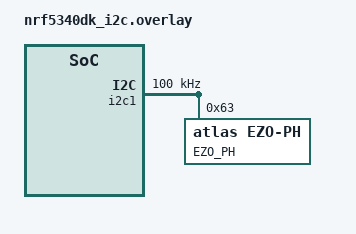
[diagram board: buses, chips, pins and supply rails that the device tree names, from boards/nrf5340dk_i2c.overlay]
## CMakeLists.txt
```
cmake_minimum_required(VERSION 3.20.0)

# Add before find_package(Zephyr ...)
list(APPEND ZEPHYR_EXTRA_MODULES C:/ncs/v3.2.3/modules/atlas_ezo_ph)

find_package(Zephyr REQUIRED HINTS $ENV{ZEPHYR_BASE})
project(ph_sensor_sample)

# -------------------------
# Suppress macro expansion notes
# -------------------------
add_compile_options(
    -fno-diagnostics-show-note-include-stack
    -fno-diagnostics-show-caret
    -fno-diagnostics-show-option
)

FILE(GLOB app_sources src/*.c)
target_sources(app PRIVATE ${app_sources})
target_include_directories(app PRIVATE include)
```

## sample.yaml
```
sample:
  name: pH Sensor Sample
  description: Atlas EZO-pH sensor driver sample (Matter + Continuous / Serial + On-Demand)

tests:
  drivers.sensor.ph_sensor.build:
    tags:
      - i2c
      - sensor
      - ph_sensor
    platform_allow:
      - nrf5340dk/nrf5340/cpuapp
    integration_platforms:
      - nrf5340dk/nrf5340/cpuapp
```

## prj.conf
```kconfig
#
# Copyright (c) 2021 Nordic Semiconductor ASA
#
# SPDX-License-Identifier: LicenseRef-Nordic-5-Clause
#

# System
CONFIG_THREAD_NAME=y
CONFIG_MPU_STACK_GUARD=y
CONFIG_RESET_ON_FATAL_ERROR=n
CONFIG_USE_SEGGER_RTT=n
CONFIG_SYSTEM_WORKQUEUE_STACK_SIZE=2048

# pH sensor — Serial + On-Demand
CONFIG_SENSOR=y
CONFIG_I2C=y
CONFIG_PH_SENSOR=y
CONFIG_PH_SENSOR_TRANSPORT_SERIAL=y
CONFIG_PH_SENSOR_MODE_ON_DEMAND=y
CONFIG_PH_SENSOR_I2C_READ_TIMEOUT_MS=2000
```

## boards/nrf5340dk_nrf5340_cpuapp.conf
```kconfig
# nrf5340dk_nrf5340_cpuapp_ns.conf for ArduCAM Mega
#CONFIG_TFM_SECURE_UART=n
#CONFIG_TFM_LOG_LEVEL_SILENCE=y

# Board-specific Kconfig for nRF5340 DK (cpuapp core).
# Supplements prj.conf with board-level overrides.

CONFIG_SERIAL=y
CONFIG_UART_CONSOLE=y
CONFIG_CONSOLE=y

CONFIG_I2C=y
```

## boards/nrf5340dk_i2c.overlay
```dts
/*
 * Named overlay for Atlas EZO-pH sensor in I2C mode on nRF5340 DK.
 *
 * Use this overlay when the sensor has already been switched to I2C mode:
 *   1. Connect via UART
 *   2. Send "I2C,99\r"  — switch to I2C address 0x63
 *   3. Send "Plock,1\r" — lock protocol to I2C
 *   4. Power-cycle the sensor
 *
 * This file is identical in content to nrf5340dk_nrf5340_cpuapp.overlay
 * and is provided as a named alternative for explicit selection.
 */

&i2c1 {
	status = "okay";
	pinctrl-0 = <&i2c1_default>;
	pinctrl-1 = <&i2c1_sleep>;
	pinctrl-names = "default", "sleep";
	clock-frequency = <I2C_BITRATE_STANDARD>;

	ezo_ph: ezo-ph@63 {
		compatible = "atlas,ezo-ph";
		reg = <0x63>;
		label = "EZO_PH";
		status = "okay";
	};
};
```

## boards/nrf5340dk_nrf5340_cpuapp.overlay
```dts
/*
 * Default board overlay for nRF5340 DK (cpuapp core).
 * Configures the Atlas EZO-pH sensor in I2C mode at address 0x63.
 *
 * This is the overlay Zephyr picks up automatically for this board.
 * It is equivalent to nrf5340dk_i2c.overlay — both are kept so that
 * the named overlay can be selected explicitly if needed.
 */

&i2c1 {
	status = "okay";
	pinctrl-0 = <&i2c1_default>;
	pinctrl-1 = <&i2c1_sleep>;
	pinctrl-names = "default", "sleep";
	clock-frequency = <I2C_BITRATE_STANDARD>;

	ezo_ph: ezo-ph@63 {
		compatible = "atlas,ezo-ph";
		reg = <0x63>;
		label = "EZO_PH";
		status = "okay";
	};
};
```

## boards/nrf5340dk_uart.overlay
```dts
/*
 * Overlay for Atlas EZO-pH sensor in UART mode on nRF5340 DK.
 *
 * Use this overlay when the sensor is in its factory default UART mode,
 * or after a power-cycle before switching to I2C.
 *
 * current-speed is set here on the bus controller node (&uart1) — it
 * is a bus property, not a sensor device property, so it does not
 * appear in the binding file.
 */

&uart1 {
	status = "okay";
	current-speed = <9600>;
	pinctrl-0 = <&uart1_default>;
	pinctrl-1 = <&uart1_sleep>;
	pinctrl-names = "default", "sleep";

	ezo_ph: ezo-ph {
		compatible = "atlas,ezo-ph";
		label = "EZO_PH";
		status = "okay";
	};
};
```

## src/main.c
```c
/*
 * samples/ph_sensor_serial/src/main.c
 *
 * Serial sample — pH sensor in on-demand mode, output to UART.
 *
 * Config: CONFIG_PH_SENSOR=y
 *         CONFIG_PH_SENSOR_TRANSPORT_SERIAL=y
 *         CONFIG_PH_SENSOR_MODE_ON_DEMAND=y
 *         CONFIG_PH_SENSOR_I2C_READ_TIMEOUT_MS=2000
 *
 * No network. No threads. App drives the read loop.
 */

#include <zephyr/kernel.h>
#include <zephyr/device.h>
#include <zephyr/drivers/sensor.h>
#include <zephyr/logging/log.h>

#include <drivers/sensor/ph_sensor.h>

LOG_MODULE_REGISTER(ph_serial_sample, LOG_LEVEL_INF);

#define READ_INTERVAL_SEC 10

static const struct device *ph_dev = DEVICE_DT_GET(DT_NODELABEL(ezo_ph));

BUILD_ASSERT(DT_NODE_EXISTS(DT_NODELABEL(ezo_ph)),
	     "ezo_ph DT node missing — check overlay");

int main(void)
{
	if (!device_is_ready(ph_dev)) {
		LOG_ERR("ezo_ph device not ready");
		return -ENODEV;
	}

	LOG_INF("pH serial sample started");

	while (true) {
		struct sensor_value val;

		int err = sensor_sample_fetch(ph_dev);
		if (err) {
			LOG_ERR("sample_fetch failed: %d", err);
			k_sleep(K_SECONDS(READ_INTERVAL_SEC));
			continue;
		}

		err = sensor_channel_get(ph_dev,
			(enum sensor_channel)PH_SENSOR_CHAN_PH, &val);
		if (err) {
			LOG_ERR("channel_get failed: %d", err);
			k_sleep(K_SECONDS(READ_INTERVAL_SEC));
			continue;
		}

		LOG_INF("pH: %d.%06d", val.val1, val.val2);

		k_sleep(K_SECONDS(READ_INTERVAL_SEC));
	}

	return 0;
}
```

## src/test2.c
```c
#include <zephyr/kernel.h>
#include <zephyr/device.h>
#include <zephyr/drivers/sensor.h>
#include <zephyr/drivers/uart.h>
#include <zephyr/sys/util.h>
#include <zephyr/logging/log.h>
#include <string.h>
#include <stdio.h>
#include "ph_sensor.h"

// Declare the static functions from ph_sensor.c as extern.
extern int send_command(const struct device *dev, const char *cmd);
extern int read_response(const struct device *dev, uint8_t *buf, size_t len);

LOG_MODULE_REGISTER(main);

// List of common debug commands from datasheet (expand as needed)
static const char *command_list[] = {
    "R",              // Take single pH reading
    "i",              // Device information
    "Status",         // Reading device status (voltage, restart reason)
    "Cal,?",          // Calibration status
    "Cal,mid,7.00",   // Mid-point calibration (adjust value as needed)
    "Cal,low,4.00",   // Low-point calibration
    "Cal,high,10.00", // High-point calibration
    "Cal,clear",      // Clear calibration
    "Slope,?",        // Probe slope info
    "T,?",            // Temperature compensation value
    "L,?",            // LED state
    "Find",           // Blink LED to find device
    "Plock,?",        // Protocol lock status
    NULL              // End of list
};

int main(void)
{
    const struct device *dev = DEVICE_DT_GET(DT_NODELABEL(ezo_ph));
    const struct device *console = DEVICE_DT_GET(DT_CHOSEN(zephyr_console));

    if (!device_is_ready(dev)) {
        printk("pH sensor not ready\n");
        return -ENODEV;
    }

    if (!device_is_ready(console)) {
        printk("Console UART not ready\n");
        return -ENODEV;
    }

    printk("pH Sensor Debug Menu (UART/I2C compatible)\n");
    printk("Select a command by number (or enter custom command directly).\n");
    printk("Commands from datasheet; wait times handled by driver.\n\n");

    // Print the menu
    for (int i = 0; command_list[i] != NULL; i++) {
        printk("%d: %s\n", i + 1, command_list[i]);
    }
    printk("0: Enter custom command\n\n");

    char input_buf[64];
    size_t input_idx = 0;
    uint8_t response_buf[64];

    while (1) {
        printk("Enter choice (0-%d) or custom: ", (int)(sizeof(command_list)/sizeof(command_list[0]) - 1));

        // Read input line
        input_idx = 0;
        while (input_idx < sizeof(input_buf) - 1) {
            unsigned char c;
            if (uart_poll_in(console, &c) == 0) {
                if (c == '\r' || c == '\n') {
                    input_buf[input_idx] = '\0';
                    break;
                }
                input_buf[input_idx++] = c;
            }
            k_sleep(K_MSEC(10));
        }

        if (input_idx == 0) continue;

        const char *cmd = NULL;
        int choice = atoi(input_buf);

        if (choice == 0) {
            // Custom command
            printk("Enter custom command: ");
            input_idx = 0;
            while (input_idx < sizeof(input_buf) - 1) {
                unsigned char c;
                if (uart_poll_in(console, &c) == 0) {
                    if (c == '\r' || c == '\n') {
                        input_buf[input_idx] = '\0';
                        break;
                    }
                    input_buf[input_idx++] = c;
                }
                k_sleep(K_MSEC(10));
            }
            cmd = input_buf;
        } else if (choice > 0 && choice <= (int)(sizeof(command_list)/sizeof(command_list[0]) - 1)) {
            cmd = command_list[choice - 1];
        } else {
            printk("Invalid choice.\n");
            continue;
        }

        if (cmd && strlen(cmd) > 0) {
            printk("Sending: %s\n", cmd);
            int ret = send_command(dev, cmd);
            if (ret < 0) {
                printk("Send failed: %d\n", ret);
                continue;
            }

            // Wait for processing (datasheet recommends up to 900ms; adjust if needed)
            k_sleep(K_MSEC(900));

            ret = read_response(dev, response_buf, sizeof(response_buf));
            if (ret < 0) {
                printk("Read failed: %d\n", ret);
            } else {
                printk("Response: %s\n", response_buf);
            }
        }
    }

    return 0;
}
```
